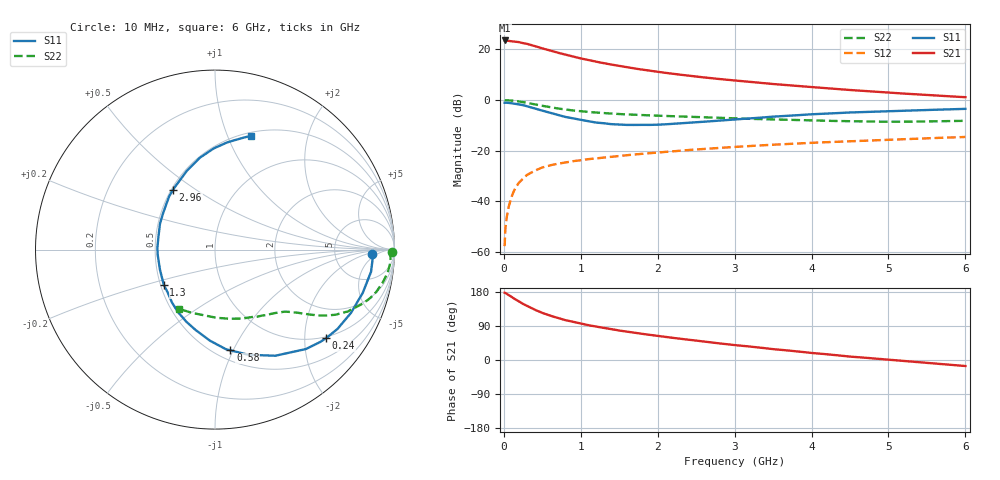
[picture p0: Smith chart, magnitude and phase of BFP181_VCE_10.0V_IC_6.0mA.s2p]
! Infineon Technologies  Discrete & RF Semiconductors
! BFP181
! VCE = 10.0V,  IC =  6.0 mA
! Common Emitter S-Parameters:  Jan 2016
# GHz  S  MA  R  50
!  f  S11  S21  S12  S22
! GHz  MAG  ANG  MAG  ANG  MAG  ANG  MAG  ANG
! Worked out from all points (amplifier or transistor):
!   210 points, 10 MHz to 6 GHz, reference 50 ohm
!   highest |S21| = 23.4 dB at 10 MHz (marker M1)
!   |S21| within 3 dB of that: start of sweep to 486.6 MHz
!   unconditionally stable (mu >= 1): 1.755 GHz to end of sweep
!   at 185 MHz: K = 0.19, MSG = 28.0 dB, |S12| = -33.2 dB
!   at 1.52 GHz: K = 0.94, MSG = 17.7 dB, |S12| = -22.1 dB
!   at 6 GHz: K = 1.06, MAG = 6.3 dB, |S12| = -14.6 dB
!   S11 on the Smith chart (normalised r, x): 10 MHz: 15, -3; 240 MHz: 0.96, -2.54; 580 MHz: 0.59, -0.98; 1.3 GHz: 0.52, -0.23; 2.96 GHz: 0.51, +0.41; 6 GHz: 0.54, +1.22
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0.01  0.877 -1.7  14.86 177.6  0.0013 66.3  0.9853 -0.7
0.02  0.8797 -3.5  14.85 176.9  0.0028 85.8  0.9772 -1.4
0.05  0.8781 -8.1  14.7 172.9  0.0062 86.5  0.9804 -3.9
0.15  0.8355 -25.0  14.15 160.0  0.0183 75.4  0.9511 -11.3
0.2  0.8131 -32.9  13.72 153.9  0.0235 71.4  0.929 -14.7
0.24  0.7921 -38.5  13.25 149.1  0.0271 69.2  0.908 -17.1
0.3  0.7504 -47.6  12.75 142.9  0.0329 65.0  0.8733 -20.3
0.4  0.6801 -60.4  11.55 132.6  0.0398 59.7  0.816 -25.0
0.5  0.6149 -72.4  10.38 124.3  0.0464 55.1  0.7646 -28.3
0.58  0.5679 -81.3  9.648 118.6  0.0502 52.4  0.727 -30.3
0.7  0.5081 -93.2  8.531 110.8  0.0549 49.6  0.677 -32.8
0.8  0.4606 -103.6  7.833 105.2  0.0582 47.2  0.6451 -34.2
1.02  0.3992 -122.2  6.471 95.2  0.065 44.8  0.5926 -36.7
1.3  0.3464 -145.5  5.284 84.5  0.0731 42.6  0.5485 -39.3
1.62  0.3202 -169.1  4.358 74.2  0.0814 41.1  0.5149 -42.3
2.02  0.3248 165.2  3.539 63.1  0.0923 39.5  0.4863 -46.7
2.4  0.3511 146.2  3.004 53.5  0.1025 37.5  0.465 -51.7
2.96  0.4074 124.9  2.447 40.3  0.117 34.4  0.4334 -59.7
3.1  0.4207 120.4  2.338 37.5  0.1205 33.5  0.4266 -62.0
4.1  0.5275 97.4  1.742 16.9  0.1444 26.5  0.3895 -80.4
5.1  0.6063 82.4  1.361 -1.0  0.1652 20.0  0.3705 -101.6
6  0.6648 72.5  1.129 -15.9  0.1855 13.8  0.3861 -121.3
